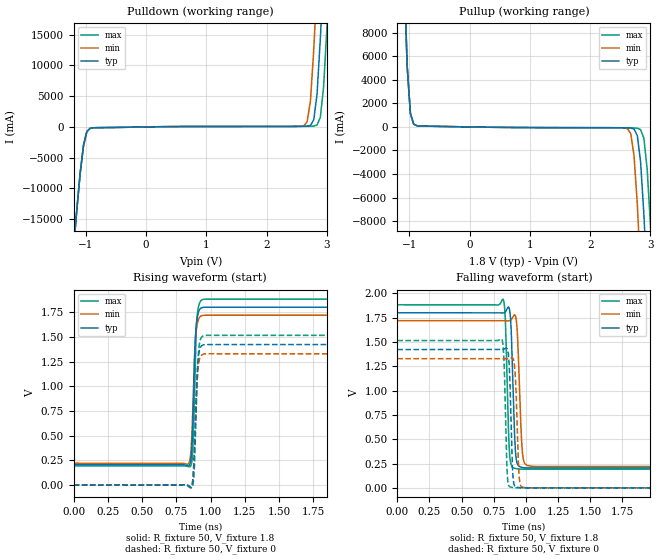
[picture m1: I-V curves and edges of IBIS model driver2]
| IBIS file inv_chain_slow_1ns.ibs created by PYS2IBIS3
| Missouri S&T EMC Lab
[IBIS Ver] 7.1
[File Name] inv_chain_slow_1ns.ibs
[File Rev] 1.0
[Date] Jul 27, 2026
[Source] Eight-stage inv_chain transistor model characterized with s2ibispy
[Notes] Slow-input characterization; tr=tf=1 ns. All other settings match
 inv_chain_fast_5ps.
[Component] invchain
[Manufacturer] s2ibispy study
[Package]
| variable   typ   min   max
R_pkg 0 NA NA
L_pkg 0H NA NA
C_pkg 0F NA NA
[Pin]  signal_name   model_name   R_pin   L_pin   C_pin
VSSQ   VSSQ   Gnd
VCCQ   VCCQ   Power
| IN IN dummy
PAD   PAD   driver2
| End of Component
| Models and submodels in the file (1): driver2 (Output)
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[Model] driver2
Model_type Output
Polarity Non-Inverting
Enable Active-High
Vinl  = 0.8V
Vinh  = 2V
C_comp 0.4680pF NA NA
[Temperature Range] 27.0000 27.0000 27.0000
[Voltage Range] 1.8000V 1.7000V 1.9000V
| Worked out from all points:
|   slope of the pulldown table from 0 to 0.27 V, typ, clamps not added: 6.79 ohm
|   slope of the pullup table from 0 to 0.27 V, typ, clamps not added: 12.6 ohm
|   rising waveform, R_fixture 50, V_fixture 1.8: 20-80 % time 21.1ps typ, 23.1ps min, 19.8ps max; typ from 0.204 V to 1.8 V
|   rising waveform, R_fixture 50, V_fixture 0: 20-80 % time 22.4ps typ, 23.9ps min, 21.1ps max; typ from 0 V to 1.42 V
|   falling waveform, R_fixture 50, V_fixture 1.8: 20-80 % time 23.4ps typ, 25.8ps min, 21.7ps max; typ from 1.8 V to 0.204 V
|   falling waveform, R_fixture 50, V_fixture 0: 20-80 % time 19ps typ, 20.7ps min, 18.1ps max; typ from 1.42 V to 0 V
[Pulldown]
| Voltage   I(typ)   I(min)   I(max)
-1.8V     -87.88A    -87.88A    -87.88A
-1.2V     -19.4A     -19.4A     -19.4A
-1.036V   -2.952A    -2.948A    -2.955A
-927.3mV  -221.8mA   -216.4mA   -227mA
2.618V    95.77mA    193.1mA    97.15mA
2.727V    244.8mA    4.224A     106.4mA
2.782V    1.151A     12.49A     132.5mA
2.836V    5.27A      23.04A     313.7mA
2.891V    14.25A     33.59A     1.533A
2.946V    24.81A     44.15A     6.464A
3V        35.36A     54.71A     16.02A
3.6V      151.5A     170.8A     132.1A
[Pullup]
| Voltage   I(typ)   I(min)   I(max)
-1.8V     151.4A     151.4A     151.4A
-1.091V   14.2A      14.19A     14.2A
-981.8mV  1.13A      1.129A     1.132A
-872.7mV  99.18mA    97.54mA    100.6mA
2.618V    -78.19mA   -142.5mA   -79.21mA
2.727V    -177.2mA   -2.408A    -86.52mA
2.782V    -728.3mA   -6.523A    -104.6mA
2.836V    -2.952A    -12.18A    -222.3mA
2.891V    -7.391A    -18.4A     -950.7mA
2.946V    -13.22A    -24.62A    -3.561A
3V        -19.44A    -30.85A    -8.297A
3.6V      -87.92A    -99.33A    -76.52A
[Ramp]
| variable   typ   min   max
dV/dt_r 0.8532/0.02175n 0.7968/0.02328n 0.9090/0.02053n
dV/dt_f 0.9575/0.02293n 0.8972/0.02484n 1.0171/0.02137n
R_load = 50
[Rising Waveform]
R_fixture = 50
V_fixture = 1.8
|time   V(typ)   V(min)   V(max)
0s        204.2mV    219.5mV    192.2mV
828.8ps   196.1mV    210mV      188.4mV
852.9ps   227.3mV    286.1mV    186.2mV
864.9ps   422.2mV    553.3mV    250.7mV
870.9ps   643.3mV    786.8mV    377.4mV
882.9ps   1.248V     1.31V      936.4mV
894.9ps   1.615V     1.569V     1.552V
912.9ps   1.757V     1.681V     1.812V
948.9ps   1.799V     1.718V     1.881V
6ns       1.8V       1.719V     1.882V
[Rising Waveform]
R_fixture = 50
V_fixture = 0
|time   V(typ)   V(min)   V(max)
0s        13.08nV    12.76nV    13.48nV
864.9ps   -9.234mV   422.2uV    -26.96mV
876.9ps   173.4mV    199.6mV    62.29mV
882.9ps   387.4mV    397mV      211.9mV
894.9ps   893.7mV    840.1mV    752.3mV
906.9ps   1.242V     1.149V     1.238V
912.9ps   1.319V     1.224V     1.364V
924.9ps   1.391V     1.296V     1.471V
955ps     1.421V     1.327V     1.513V
6ns       1.422V     1.328V     1.515V
[Falling Waveform]
R_fixture = 50
V_fixture = 1.8
|time   V(typ)   V(min)   V(max)
0s        1.8V       1.719V     1.882V
822.8ps   1.798V     1.719V     1.94V
840.8ps   1.81V      1.718V     1.734V
864.9ps   1.86V      1.717V     611.9mV
882.9ps   1.72V      1.724V     259mV
918.9ps   386mV      1.772V     199.3mV
936.9ps   238.4mV    1.533V     195.2mV
973ps     209.6mV    374.5mV    192.3mV
1.021ns   204.6mV    227.6mV    192.2mV
6ns       204.2mV    219.5mV    192.2mV
[Falling Waveform]
R_fixture = 50
V_fixture = 0
|time   V(typ)   V(min)   V(max)
0s        1.422V     1.328V     1.515V
810.8ps   1.422V     1.328V     1.532V
828.8ps   1.425V     1.328V     1.356V
852.9ps   1.435V     1.328V     216mV
864.9ps   1.373V     1.329V     31.5mV
888.9ps   526.2mV    1.339V     5.709mV
906.9ps   41.98mV    1.306V     2.302mV
948.9ps   2.572mV    108.3mV    197.5uV
979ps     518.3uV    6.245mV    15.33uV
6ns       12.97nV    12.76nV    13.56nV
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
